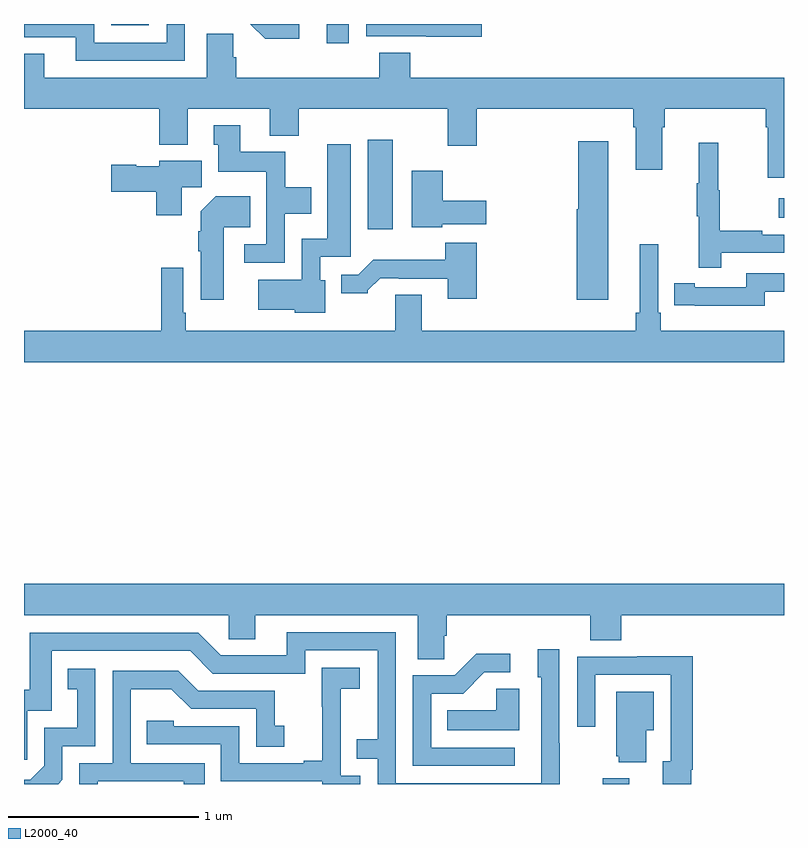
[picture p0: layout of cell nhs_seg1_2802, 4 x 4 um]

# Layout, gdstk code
import gdstk
lib = gdstk.Library(unit=1e-6, precision=1e-09)
def R(c, l, rs):  # rectangles x0, y0, x1, y1
    for r in rs: c.add(gdstk.rectangle(r[:2], r[2:], *l))
def P(c, l, *ps):  # polygons
    for p in ps: c.add(gdstk.Polygon(p, *l))
L2000_40 = (2000, 40)

nhs_seg1_2802 = lib.new_cell('nhs_seg1_2802')
R(nhs_seg1_2802, L2000_40, [(266.045,528.199,266.185,528.229), (264.809,531.12,264.94,531.589), (266.973,531.179,267,531.283), (264.593,532.098,264.708,532.199), (263.458,532.193,263.656,532.199)])
P(nhs_seg1_2802, L2000_40, [(264.448,532.199),(264.19,532.199),(264.269,532.121),(264.448,532.121)],
  [(265.409,532.199),(264.801,532.199),(264.801,532.134),(265.117,532.134),(265.117,532.133),(265.409,532.133)],
  [(263.847,532.199),(263.751,532.199),(263.751,532.101),(263.37,532.101),(263.37,532.199),(263,532.199),(263,532.128),(263.273,532.128),(263.273,532.005),(263.847,532.005)],
  [(267,531.916),(265.034,531.916),(265.034,532.049),(264.869,532.049),(264.869,531.916),(264.116,531.916),(264.116,532.025),(264.102,532.025),(264.102,532.148),(263.963,532.148),(263.963,531.916),(263.107,531.916),(263.107,532.043),(263,532.043),(263,531.752),(263.711,531.752),(263.711,531.563),(263.863,531.563),(263.863,531.752),(264.293,531.752),(264.293,531.611),(264.446,531.611),(264.446,531.752),(265.229,531.752),(265.229,531.558),(265.382,531.558),(265.382,531.752),(266.207,531.752),(266.207,531.656),(266.219,531.656),(266.219,531.432),(266.359,531.432),(266.359,531.656),(266.372,531.656),(266.372,531.752),(266.903,531.752),(266.903,531.656),(266.915,531.656),(266.915,531.39),(267,531.39)],
  [(264.372,531.2),(264.511,531.2),(264.511,531.34),(264.375,531.34),(264.375,531.526),(264.139,531.526),(264.139,531.667),(263.999,531.667),(263.999,531.564),(264.023,531.564),(264.023,531.422),(264.276,531.422),(264.276,531.039),(264.159,531.039),(264.159,530.943),(264.372,530.943)],
  [(266.074,531.583),(265.916,531.583),(265.916,531.225),(265.91,531.225),(265.91,530.748),(266.074,530.748)],
  [(266.669,530.994),(267,530.994),(267,531.09),(266.885,531.09),(266.885,531.11),(266.662,531.11),(266.662,531.324),(266.654,531.324),(266.654,531.574),(266.552,531.574),(266.552,531.361),(266.541,531.361),(266.541,531.187),(266.552,531.187),(266.552,530.916),(266.669,530.916)],
  [(264.586,530.85),(264.558,530.85),(264.558,530.973),(264.721,530.973),(264.721,531.565),(264.596,531.565),(264.596,531.07),(264.462,531.07),(264.462,530.854),(264.234,530.854),(264.234,530.696),(264.426,530.696),(264.426,530.678),(264.586,530.678)],
  [(263.83,531.34),(263.935,531.34),(263.935,531.478),(263.712,531.478),(263.712,531.451),(263.592,531.451),(263.592,531.459),(263.46,531.459),(263.46,531.317),(263.696,531.317),(263.696,531.192),(263.83,531.192)],
  [(265.2,531.146),(265.432,531.146),(265.432,531.268),(265.204,531.268),(265.204,531.427),(265.04,531.427),(265.04,531.128),(265.2,531.128)],
  [(264.052,531.128),(264.191,531.128),(264.191,531.292),(264.008,531.292),(263.93,531.214),(263.93,531.107),(263.918,531.107),(263.918,531.004),(263.93,531.004),(263.93,530.748),(264.052,530.748)],
  [(265.382,531.049),(265.217,531.049),(265.217,530.959),(264.838,530.959),(264.759,530.88),(264.671,530.88),(264.671,530.783),(264.81,530.783),(264.81,530.798),(264.874,530.862),(264.973,530.862),(264.973,530.859),(265.229,530.859),(265.229,530.754),(265.382,530.754)],
  [(267,530.584),(266.351,530.584),(266.351,530.68),(266.337,530.68),(266.337,531.04),(266.24,531.04),(266.24,530.68),(266.221,530.68),(266.221,530.584),(265.093,530.584),(265.093,530.774),(264.953,530.774),(264.953,530.584),(263.851,530.584),(263.851,530.68),(263.838,530.68),(263.838,530.917),(263.722,530.917),(263.722,530.584),(263,530.584),(263,530.42),(267,530.42)],
  [(266.898,530.79),(267,530.79),(267,530.886),(266.802,530.886),(266.802,530.814),(266.53,530.814),(266.53,530.834),(266.422,530.834),(266.422,530.718),(266.53,530.718),(266.53,530.717),(266.898,530.717)],
  [(265.212,528.979),(265.226,528.979),(265.226,529.088),(265.979,529.088),(265.979,528.955),(266.144,528.955),(266.144,529.088),(267,529.088),(267,529.252),(263,529.252),(263,529.088),(264.078,529.088),(264.078,528.961),(264.217,528.961),(264.217,529.088),(265.073,529.088),(265.073,528.856),(265.212,528.856)],
  [(265.821,528.413),(265.818,528.413),(265.818,528.907),(265.703,528.907),(265.703,528.762),(265.722,528.762),(265.722,528.204),(264.957,528.204),(264.957,528.999),(264.383,528.999),(264.383,528.876),(264.036,528.876),(263.916,528.996),(263.029,528.996),(263.029,528.694),(263,528.694),(263,528.327),(263.016,528.327),(263.016,528.585),(263.145,528.585),(263.145,528.9),(263.874,528.9),(263.994,528.78),(264.48,528.78),(264.48,528.903),(264.861,528.903),(264.861,528.434),(264.751,528.434),(264.751,528.333),(264.861,528.333),(264.861,528.199),(265.821,528.199)],
  [(265.582,528.39),(265.143,528.39),(265.143,528.675),(265.312,528.675),(265.423,528.786),(265.558,528.786),(265.558,528.884),(265.379,528.884),(265.266,528.771),(265.047,528.771),(265.047,528.294),(265.582,528.294)],
  [(266.512,528.274),(266.519,528.274),(266.519,528.872),(266.227,528.872),(266.227,528.87),(265.911,528.87),(265.911,528.501),(266.007,528.501),(266.007,528.774),(266.403,528.774),(266.403,528.318),(266.363,528.318),(266.363,528.199),(266.512,528.199)],
  [(264.771,528.243),(264.666,528.243),(264.666,528.473),(264.668,528.473),(264.668,528.701),(264.766,528.701),(264.766,528.811),(264.568,528.811),(264.568,528.605),(264.569,528.605),(264.569,528.322),(264.473,528.322),(264.473,528.309),(264.132,528.309),(264.132,528.504),(263.787,528.504),(263.787,528.531),(263.647,528.531),(263.647,528.408),(264.036,528.408),(264.036,528.213),(264.57,528.213),(264.57,528.199),(264.771,528.199)],
  [(263.202,528.222),(263.202,528.399),(263.376,528.399),(263.376,528.805),(263.23,528.805),(263.23,528.699),(263.279,528.699),(263.279,528.495),(263.106,528.495),(263.106,528.294),(263.034,528.222),(263,528.222),(263,528.199),(263.179,528.199)],
  [(263.389,528.213),(263.84,528.213),(263.84,528.199),(263.951,528.199),(263.951,528.309),(263.562,528.309),(263.562,528.698),(263.776,528.698),(263.88,528.594),(264.222,528.594),(264.222,528.396),(264.37,528.396),(264.37,528.505),(264.321,528.505),(264.321,528.69),(263.917,528.69),(263.812,528.795),(263.466,528.795),(263.466,528.309),(263.292,528.309),(263.292,528.199),(263.389,528.199)],
  [(265.606,528.701),(265.485,528.701),(265.485,528.586),(265.228,528.586),(265.228,528.482),(265.606,528.482)],
  [(266.275,528.482),(266.314,528.482),(266.314,528.685),(266.117,528.685),(266.117,528.345),(266.129,528.345),(266.129,528.314),(266.275,528.314)])

lib.write_gds('nhs_seg1_2802.gds')
